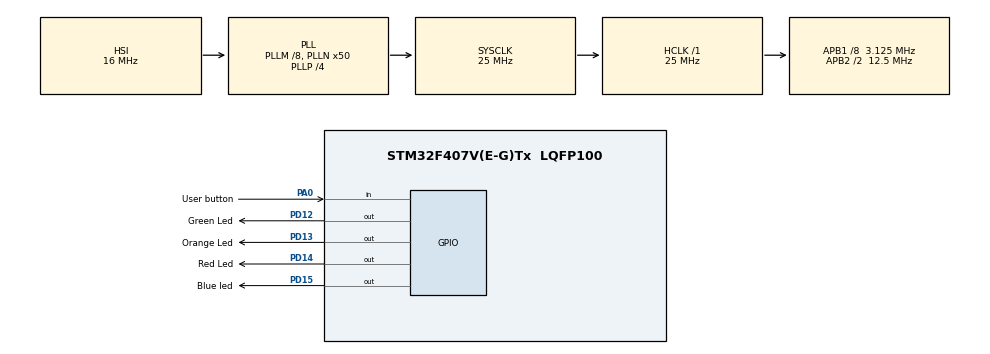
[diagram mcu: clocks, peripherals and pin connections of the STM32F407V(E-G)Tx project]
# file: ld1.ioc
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Mcu.Family=STM32F4
Mcu.Name=STM32F407V(E-G)Tx
Mcu.Package=LQFP100
NVIC.PriorityGroup=NVIC_PRIORITYGROUP_0
PA0-WKUP.GPIO_Label=User button
PA0-WKUP.Signal=GPIO_Input
PD12.GPIO_Label=Green Led
PD12.Signal=GPIO_Output
PD13.GPIO_Label=Orange Led
PD13.Signal=GPIO_Output
PD14.GPIO_Label=Red Led
PD14.Signal=GPIO_Output
PD15.GPIO_Label=Blue led
PD15.Signal=GPIO_Output
ProjectManager.HeapSize=0x200
ProjectManager.StackSize=0x400
ProjectManager.TargetToolchain=STM32CubeIDE
RCC.48MHZClocksFreq_Value=14285714.285714285
RCC.AHBFreq_Value=25000000
RCC.APB1CLKDivider=RCC_HCLK_DIV8
RCC.APB1Freq_Value=3125000
RCC.APB1TimFreq_Value=6250000
RCC.APB2CLKDivider=RCC_HCLK_DIV2
RCC.APB2Freq_Value=12500000
RCC.APB2TimFreq_Value=25000000
RCC.CortexFreq_Value=25000000
RCC.HCLKFreq_Value=25000000
RCC.HSE_VALUE=8000000
RCC.HSI_VALUE=16000000
RCC.LSE_VALUE=32768
RCC.PLLM=8
RCC.PLLN=50
RCC.PLLP=RCC_PLLP_DIV4
RCC.PLLQ=7
RCC.SYSCLKFreq_VALUE=25000000
RCC.SYSCLKSource=RCC_SYSCLKSOURCE_PLLCLK
RCC.VCOOutputFreq_Value=100000000
board=STM32F407G-DISC1

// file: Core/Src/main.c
/* USER CODE BEGIN Header */
/**
  ******************************************************************************
  * @file           : main.c
  * @brief          : Main program body
  ******************************************************************************
  * @attention
  *
  * Copyright (c) 2024 STMicroelectronics.
  * All rights reserved.
  *
  * This software is licensed under terms that can be found in the LICENSE file
  * in the root directory of this software component.
  * If no LICENSE file comes with this software, it is provided AS-IS.
  *
  ******************************************************************************
  */
/* USER CODE END Header */
#include "main.h"

void SystemClock_Config(void);
static void MX_GPIO_Init(void);

int main(void)
{

  /* MCU Configuration--------------------------------------------------------*/

  /* Reset of all peripherals, Initializes the Flash interface and the Systick. */
  HAL_Init();

  /* Configure the system clock */
  SystemClock_Config();

  /* Initialize all configured peripherals */
  MX_GPIO_Init();
  /* USER CODE BEGIN 2 */
  int uzd = 4;
  int daznis = 1000;
  /* USER CODE END 2 */

  /* Infinite loop */
  while (1)
  {

    /* USER CODE BEGIN 3 */
	  if (uzd==1){
		HAL_GPIO_WritePin(GPIOD, GPIO_PIN_14, GPIO_PIN_RESET);
		HAL_GPIO_WritePin(GPIOD, GPIO_PIN_12, GPIO_PIN_RESET);
		HAL_Delay(1000);
		HAL_GPIO_WritePin(GPIOD, GPIO_PIN_14, GPIO_PIN_SET);
		HAL_Delay(1000);
		HAL_GPIO_WritePin(GPIOD, GPIO_PIN_12, GPIO_PIN_SET);
		HAL_Delay(1000);
	  } else if (uzd==2) {
		HAL_GPIO_WritePin(GPIOD, GPIO_PIN_12, GPIO_PIN_SET);
		HAL_GPIO_WritePin(GPIOD, GPIO_PIN_13, GPIO_PIN_SET);
		HAL_Delay(1000);
		HAL_GPIO_WritePin(GPIOD, GPIO_PIN_12, GPIO_PIN_RESET);
		HAL_Delay(1000);
		HAL_GPIO_WritePin(GPIOD, GPIO_PIN_13, GPIO_PIN_RESET);
		HAL_GPIO_WritePin(GPIOD, GPIO_PIN_12, GPIO_PIN_SET);
		HAL_Delay(1000);
		HAL_GPIO_WritePin(GPIOD, GPIO_PIN_12, GPIO_PIN_RESET);
		HAL_Delay(1000);
	  } else if (uzd==3) {
		  HAL_GPIO_WritePin(GPIOD, GPIO_PIN_12, GPIO_PIN_RESET);
		  while (HAL_GPIO_ReadPin(GPIOA, GPIO_PIN_0)) {
			  HAL_GPIO_WritePin(GPIOD, GPIO_PIN_12, GPIO_PIN_SET);
		  }
	  } else if (uzd==4) {
		  HAL_GPIO_WritePin(GPIOD, GPIO_PIN_13, GPIO_PIN_SET);
		  HAL_Delay(daznis);
		  HAL_GPIO_WritePin(GPIOD, GPIO_PIN_13, GPIO_PIN_RESET);
		  HAL_Delay(daznis);
		  if (HAL_GPIO_ReadPin(GPIOA, GPIO_PIN_0) == GPIO_PIN_SET) {
			  daznis = daznis+1000;
		  }
	  }

  }
  /* USER CODE END 3 */
}

void SystemClock_Config(void)
{
  RCC_OscInitTypeDef RCC_OscInitStruct = {0};
  RCC_ClkInitTypeDef RCC_ClkInitStruct = {0};

  /** Configure the main internal regulator output voltage
  */
  __HAL_RCC_PWR_CLK_ENABLE();
  __HAL_PWR_VOLTAGESCALING_CONFIG(PWR_REGULATOR_VOLTAGE_SCALE1);

  /** Initializes the RCC Oscillators according to the specified parameters
  * in the RCC_OscInitTypeDef structure.
  */
  RCC_OscInitStruct.OscillatorType = RCC_OSCILLATORTYPE_HSI;
  RCC_OscInitStruct.HSIState = RCC_HSI_ON;
  RCC_OscInitStruct.HSICalibrationValue = RCC_HSICALIBRATION_DEFAULT;
  RCC_OscInitStruct.PLL.PLLState = RCC_PLL_ON;
  RCC_OscInitStruct.PLL.PLLSource = RCC_PLLSOURCE_HSI;
  RCC_OscInitStruct.PLL.PLLM = 8;
  RCC_OscInitStruct.PLL.PLLN = 50;
  RCC_OscInitStruct.PLL.PLLP = RCC_PLLP_DIV4;
  RCC_OscInitStruct.PLL.PLLQ = 7;
  if (HAL_RCC_OscConfig(&RCC_OscInitStruct) != HAL_OK)
  {
    Error_Handler();
  }

  /** Initializes the CPU, AHB and APB buses clocks
  */
  RCC_ClkInitStruct.ClockType = RCC_CLOCKTYPE_HCLK|RCC_CLOCKTYPE_SYSCLK
                              |RCC_CLOCKTYPE_PCLK1|RCC_CLOCKTYPE_PCLK2;
  RCC_ClkInitStruct.SYSCLKSource = RCC_SYSCLKSOURCE_PLLCLK;
  RCC_ClkInitStruct.AHBCLKDivider = RCC_SYSCLK_DIV1;
  RCC_ClkInitStruct.APB1CLKDivider = RCC_HCLK_DIV8;
  RCC_ClkInitStruct.APB2CLKDivider = RCC_HCLK_DIV2;

  if (HAL_RCC_ClockConfig(&RCC_ClkInitStruct, FLASH_LATENCY_0) != HAL_OK)
  {
    Error_Handler();
  }
}

static void MX_GPIO_Init(void)
{
  GPIO_InitTypeDef GPIO_InitStruct = {0};

  /* GPIO Ports Clock Enable */
  __HAL_RCC_GPIOA_CLK_ENABLE();
  __HAL_RCC_GPIOD_CLK_ENABLE();

  /*Configure GPIO pin Output Level */
  HAL_GPIO_WritePin(GPIOD, Green_Led_Pin|Orange_Led_Pin|Red_Led_Pin|Blue_led_Pin, GPIO_PIN_RESET);

  /*Configure GPIO pin : User_button_Pin */
  GPIO_InitStruct.Pin = User_button_Pin;
  GPIO_InitStruct.Mode = GPIO_MODE_INPUT;
  GPIO_InitStruct.Pull = GPIO_NOPULL;
  HAL_GPIO_Init(User_button_GPIO_Port, &GPIO_InitStruct);

  /*Configure GPIO pins : Green_Led_Pin Orange_Led_Pin Red_Led_Pin Blue_led_Pin */
  GPIO_InitStruct.Pin = Green_Led_Pin|Orange_Led_Pin|Red_Led_Pin|Blue_led_Pin;
  GPIO_InitStruct.Mode = GPIO_MODE_OUTPUT_PP;
  GPIO_InitStruct.Pull = GPIO_NOPULL;
  GPIO_InitStruct.Speed = GPIO_SPEED_FREQ_LOW;
  HAL_GPIO_Init(GPIOD, &GPIO_InitStruct);

}

void Error_Handler(void)
{
  __disable_irq();
  while (1)
  {
  }
}
